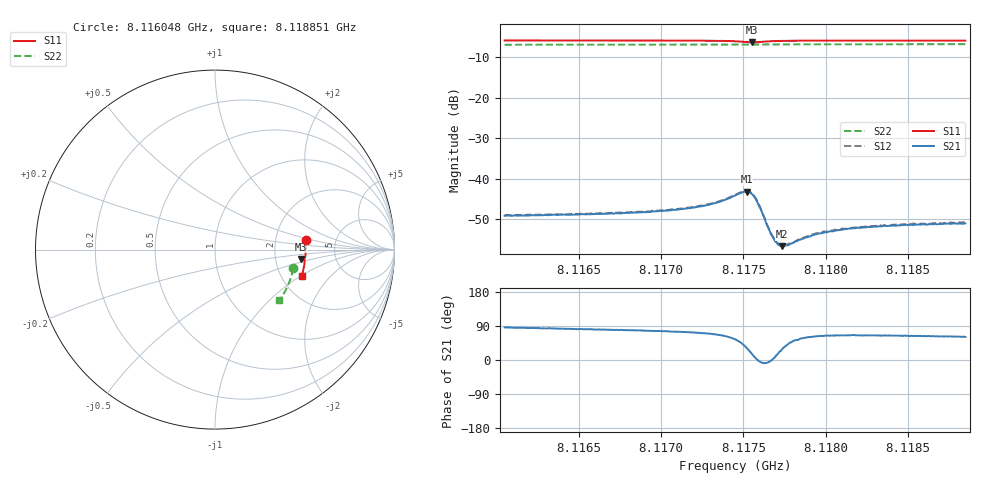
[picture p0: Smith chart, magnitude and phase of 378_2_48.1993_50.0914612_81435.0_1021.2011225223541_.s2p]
#  HZ  S  RI  R  50.00
! Rohde & Schwarz Vector Network Analyzer
! Rohde-Schwarz,ZNB20-2Port,1311601062101988,3.16
! Created: UTC 3/20/2024, 11:52:59 AM
! freq[Hz]  re:S11  im:S11  re:S21  im:S21  re:S12  im:S12  re:S22  im:S22
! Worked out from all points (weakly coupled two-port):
!   401 points, 8.116048 GHz to 8.118851 GHz, reference 50 ohm
!   highest |S21| = -43.17 dB at 8.117519 GHz (marker M1); lowest = -56.6 dB at 8.117737 GHz (marker M2)
!   lowest |S11| = -6.4 dB at 8.117554 GHz (marker M3), VSWR 2.85, Z = 140 - j18.9 ohm
!   |S11| at or under -10 dB: nowhere
!   |S22| runs from -7.0 to -6.8 dB; largest |S21 - S12| = 0.0002
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8.1160475e9  0.5043 0.0547  0.000246 0.00348  0.000283 0.00354  0.4366 -0.1043
8.1165171e9  0.5063 0.0193  0.000537 0.00362  0.000579 0.00367  0.429 -0.1362
8.1169867e9  0.5054 -0.0168  0.000931 0.00389  0.00102 0.00392  0.4193 -0.1673
8.1171409e9  0.5042 -0.0293  0.0012 0.00411  0.00125 0.00414  0.4155 -0.1775
8.1172671e9  0.5022 -0.0404  0.00156 0.00441  0.00162 0.00449  0.412 -0.1857
8.1173582e9  0.4996 -0.0491  0.00216 0.00476  0.00224 0.00483  0.4094 -0.1915
8.1174493e9  0.4926 -0.0582  0.0036 0.00507  0.0037 0.00511  0.4068 -0.1974
8.1174914e9  0.486 -0.0604  0.0049 0.00466  0.00505 0.00471  0.4053 -0.2001
8.1175194e9  0.4809 -0.0588  0.00587 0.00371  0.006 0.00376  0.4044 -0.2017
8.1175545e9  0.4777 -0.0522  0.00619 0.00164  0.00634 0.00161  0.4032 -0.2033
8.1175685e9  0.4785 -0.049  0.00586 0.000799  0.006 0.000772  0.4031 -0.2042
8.1175895e9  0.4819 -0.046  0.00493 -9.44e-05  0.00507 -0.00014  0.4025 -0.2054
8.1176526e9  0.4928 -0.048  0.00244 -0.000259  0.00248 -0.000297  0.4013 -0.2093
8.1176806e9  0.4955 -0.0512  0.00189 9.45e-05  0.00191 6.18e-05  0.4007 -0.2112
8.1177087e9  0.4971 -0.0546  0.00151 0.000411  0.00156 0.000414  0.3998 -0.2131
8.1177367e9  0.4981 -0.0579  0.00129 0.000716  0.00131 0.000725  0.3989 -0.215
8.1177788e9  0.4988 -0.0625  0.0011 0.00108  0.00117 0.00108  0.3976 -0.2177
8.1179189e9  0.4985 -0.0757  0.000956 0.00176  0.000993 0.00181  0.3932 -0.2265
8.117982e9  0.4979 -0.0811  0.000957 0.00193  0.00101 0.00197  0.3912 -0.2304
8.1181292e9  0.496 -0.0931  0.00101 0.00217  0.00107 0.0022  0.3864 -0.2396
8.1183886e9  0.4919 -0.1127  0.00112 0.00237  0.00115 0.00239  0.3767 -0.2552
8.1188512e9  0.4827 -0.1464  0.00137 0.00246  0.00141 0.00253  0.3589 -0.2821
